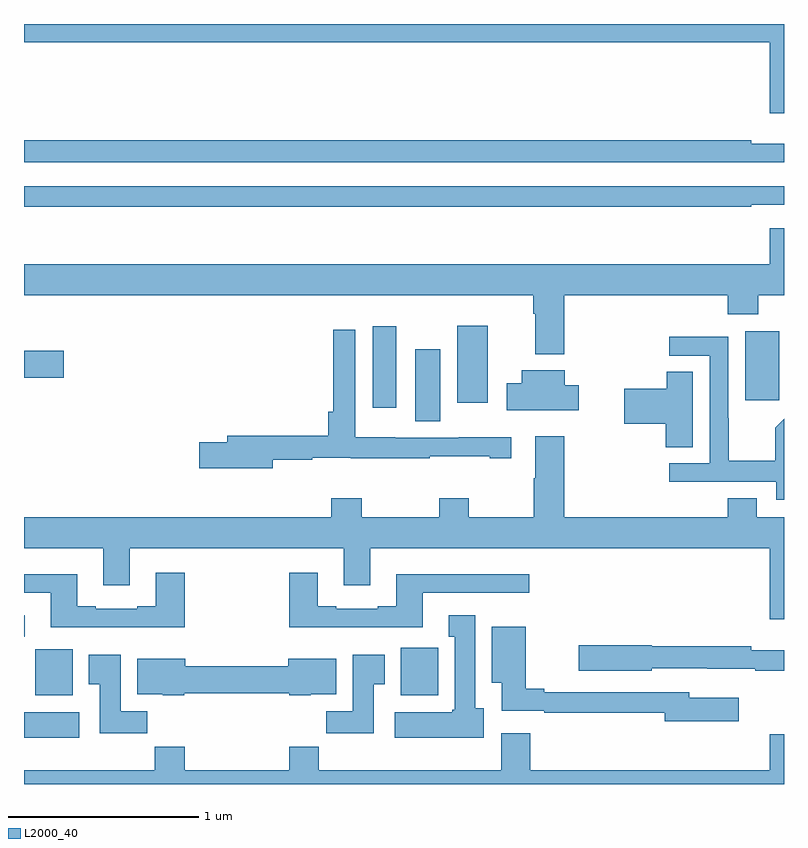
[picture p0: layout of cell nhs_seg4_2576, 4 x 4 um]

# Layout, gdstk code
import gdstk
lib = gdstk.Library(unit=1e-6, precision=1e-09)
def R(c, l, rs):  # rectangles x0, y0, x1, y1
    for r in rs: c.add(gdstk.rectangle(r[:2], r[2:], *l))
def P(c, l, *ps):  # polygons
    for p in ps: c.add(gdstk.Polygon(p, *l))
L2000_40 = (2000, 40)

nhs_seg4_2576 = lib.new_cell('nhs_seg4_2576')
R(nhs_seg4_2576, L2000_40, [(245,809.144,245.29,809.278), (245.06,809.366,245.257,809.608), (246.983,809.366,247.179,809.617), (245,809.675,245.005,809.788), (247.058,810.808,247.192,811.189), (246.836,810.879,246.958,811.309), (247.28,810.906,247.441,811.312), (248.795,810.921,248.974,811.282), (245,811.037,245.209,811.179)])
P(nhs_seg4_2576, L2000_40, [(249,812.9),(245,812.9),(245,812.804),(248.924,812.804),(248.924,812.43),(249,812.43)],
  [(249,812.269),(248.828,812.269),(248.828,812.288),(245,812.288),(245,812.172),(249,812.172)],
  [(248.828,811.95),(249,811.95),(249,812.046),(245,812.046),(245,811.938),(248.828,811.938)],
  [(247.844,811.472),(248.705,811.472),(248.705,811.373),(248.865,811.373),(248.865,811.472),(249,811.472),(249,811.825),(248.924,811.825),(248.924,811.636),(245,811.636),(245,811.472),(247.679,811.472),(247.679,811.376),(247.691,811.376),(247.691,811.163),(247.844,811.163)],
  [(246.31,810.606),(246.518,810.606),(246.518,810.617),(246.72,810.617),(246.72,810.615),(247.136,810.615),(247.136,810.625),(247.451,810.625),(247.451,810.615),(247.564,810.615),(247.564,810.725),(247.288,810.725),(247.288,810.723),(246.954,810.723),(246.954,810.724),(246.744,810.724),(246.744,811.291),(246.628,811.291),(246.628,810.859),(246.602,810.859),(246.602,810.734),(246.071,810.734),(246.071,810.698),(245.922,810.698),(245.922,810.563),(246.31,810.563)],
  [(249,810.822),(248.953,810.775),(248.953,810.601),(248.709,810.601),(248.709,810.824),(248.706,810.824),(248.706,811.254),(248.397,811.254),(248.397,811.155),(248.61,811.155),(248.61,810.588),(248.397,810.588),(248.397,810.492),(248.958,810.492),(248.958,810.395),(249,810.395)],
  [(247.921,811),(247.846,811),(247.846,811.078),(247.619,811.078),(247.619,811.008),(247.541,811.008),(247.541,810.866),(247.921,810.866)],
  [(248.521,811.07),(248.383,811.07),(248.383,810.98),(248.16,810.98),(248.16,810.797),(248.378,810.797),(248.378,810.673),(248.521,810.673)],
  [(249,810.304),(248.857,810.304),(248.857,810.403),(248.705,810.403),(248.705,810.304),(247.844,810.304),(247.844,810.73),(247.691,810.73),(247.691,810.509),(247.684,810.509),(247.684,810.304),(247.341,810.304),(247.341,810.403),(247.186,810.403),(247.186,810.304),(246.777,810.304),(246.777,810.403),(246.617,810.403),(246.617,810.304),(245,810.304),(245,810.14),(245.417,810.14),(245.417,809.946),(245.557,809.946),(245.557,810.14),(246.683,810.14),(246.683,809.946),(246.823,809.946),(246.823,810.14),(248.924,810.14),(248.924,809.766),(249,809.766)],
  [(247.099,809.907),(247.66,809.907),(247.66,810.004),(246.959,810.004),(246.959,809.836),(246.863,809.836),(246.863,809.823),(246.643,809.823),(246.643,809.836),(246.547,809.836),(246.547,810.013),(246.395,810.013),(246.395,809.726),(247.099,809.726)],
  [(245.846,810.013),(245.693,810.013),(245.693,809.836),(245.597,809.836),(245.597,809.823),(245.377,809.823),(245.377,809.836),(245.281,809.836),(245.281,810.004),(245,810.004),(245,809.907),(245.141,809.907),(245.141,809.726),(245.846,809.726)],
  [(247.42,809.298),(247.375,809.298),(247.375,809.788),(247.235,809.788),(247.235,809.675),(247.268,809.675),(247.268,809.292),(247.255,809.292),(247.255,809.278),(246.951,809.278),(246.951,809.144),(247.42,809.144)],
  [(248.761,809.353),(248.5,809.353),(248.5,809.382),(247.738,809.382),(247.738,809.402),(247.642,809.402),(247.642,809.728),(247.463,809.728),(247.463,809.432),(247.514,809.432),(247.514,809.286),(247.738,809.286),(247.738,809.274),(248.372,809.274),(248.372,809.231),(248.761,809.231)],
  [(248.304,809.508),(248.596,809.508),(248.596,809.507),(248.848,809.507),(248.848,809.496),(249,809.496),(249,809.605),(248.828,809.605),(248.828,809.624),(248.304,809.624),(248.304,809.63),(247.92,809.63),(247.92,809.495),(248.304,809.495)],
  [(246.841,809.425),(246.898,809.425),(246.898,809.581),(246.731,809.581),(246.731,809.284),(246.592,809.284),(246.592,809.166),(246.841,809.166)],
  [(245.648,809.284),(245.509,809.284),(245.509,809.581),(245.342,809.581),(245.342,809.425),(245.399,809.425),(245.399,809.166),(245.648,809.166)],
  [(245.844,809.377),(246.396,809.377),(246.396,809.366),(246.51,809.366),(246.51,809.372),(246.643,809.372),(246.643,809.56),(246.392,809.56),(246.392,809.519),(245.848,809.519),(245.848,809.56),(245.597,809.56),(245.597,809.372),(245.73,809.372),(245.73,809.366),(245.844,809.366)],
  [(249,809.161),(248.924,809.161),(248.924,808.972),(247.664,808.972),(247.664,809.167),(247.511,809.167),(247.511,808.972),(246.551,808.972),(246.551,809.096),(246.395,809.096),(246.395,808.972),(245.846,808.972),(245.846,809.096),(245.689,809.096),(245.689,808.972),(245,808.972),(245,808.9),(249,808.9)])

lib.write_gds('nhs_seg4_2576.gds')
